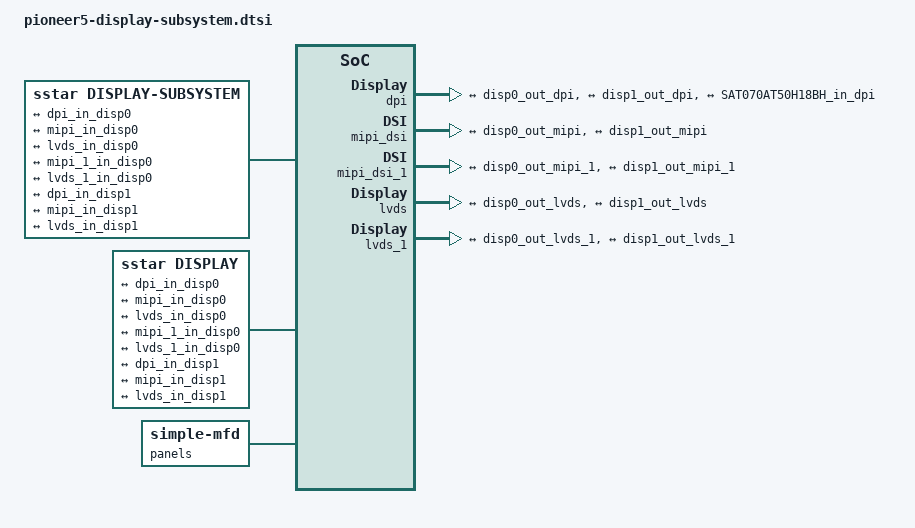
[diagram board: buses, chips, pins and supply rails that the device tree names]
/*
 * pioneer5-display-subsystem.dtsi- Sigmastar
 *
 * Copyright (c) [2019~2020] SigmaStar Technology.
 *
 *
 * This software is licensed under the terms of the GNU General Public
 * License version 2, as published by the Free Software Foundation, and
 * may be copied, distributed, and modified under those terms.
 *
 * This program is distributed in the hope that it will be useful,
 * but WITHOUT ANY WARRANTY; without even the implied warranty of
 * MERCHANTABILITY or FITNESS FOR A PARTICULAR PURPOSE.  See the
 * GNU General Public License version 2 for more details.
 *
 */

/ {
    display-subsystem {
        compatible = "sstar,display-subsystem","simple-mfd";
        ports = <&disp0>, <&disp1>, <&drmscl>;

        display {
            compatible = "sstar,display";
            #address-cells = <1>;
            #size-cells = <0>;

            disp0: port@0 {
                reg = <0>;
                preferred = <1>;
                gop-ui-support-ifcd = <1>; /* Support IFCD for GOP_UI on this disp */
                cursor-layer-enable = <1>;
                cursor-for-ui = <0>;
                /* mop-layers = <layerId winCount ... ...>
                                 layerId:  even for mopg, odd for mops
                                 winCount: win count on mop layer
                */
                mop-layers = <0 12
                              1 1>;
                mops-realtime = <1>;
                port {
                    disp0_out_dpi: endpoint@0 {
                        remote-endpoint = <&dpi_in_disp0>;
                    };
                    disp0_out_mipi: endpoint@1 {
                        remote-endpoint = <&mipi_in_disp0>;
                    };
                    disp0_out_lvds: endpoint@2 {
                        remote-endpoint = <&lvds_in_disp0>;
                    };
                    disp0_out_mipi_1: endpoint@3 {
                        remote-endpoint = <&mipi_1_in_disp0>;
                    };
                    disp0_out_lvds_1: endpoint@4 {
                        remote-endpoint = <&lvds_1_in_disp0>;
                    };
                };
            };
            disp1: port@1 {
                reg = <1>;
                cursor-layer-enable = <1>;
                cursor-for-ui = <0>;
                /* mop-layers = <layerId winCount ... ...>
                                 layerId:  even for mopg, odd for mops
                                 winCount: win count on mop layer
                */
                mop-layers = <2 12
                              3 1>;
                port {
                    disp1_out_dpi: endpoint@0 {
                        remote-endpoint = <&dpi_in_disp1>;
                    };
                    disp1_out_mipi: endpoint@1 {
                        remote-endpoint = <&mipi_in_disp1>;
                    };
                    disp1_out_lvds: endpoint@2 {
                        remote-endpoint = <&lvds_in_disp1>;
                    };
                    disp1_out_mipi_1: endpoint@3 {
                        remote-endpoint = <&mipi_1_in_disp1>;
                    };
                    disp1_out_lvds_1: endpoint@4 {
                        remote-endpoint = <&lvds_1_in_disp1>;
                    };
                };
            };
            drmscl: port@2 {
                reg = <2>;
                rdma-support = <1>;
                rot-support = <1>;
                rdmaid = <1>;
                sclid = <0x2>;
            };
        };

        dpi {
            compatible = "sstar,dpi";
            status = "okay";
            preferred = <1>;

            ports {
                #address-cells = <1>;
                #size-cells = <0>;
                port@0 {
                    reg = <0>;
                    dpi_in_disp0: endpoint@0 {
                        remote-endpoint = <&disp0_out_dpi>;
                    };
                    dpi_in_disp1: endpoint@1 {
                        remote-endpoint = <&disp1_out_dpi>;
                    };
                };
                port@1 {
                    reg = <1>;
                    dpi_out_panel: endpoint {
                        remote-endpoint = <&SAT070AT50H18BH_in_dpi>;
                    };
                };
                port@2 {
                };
            };
        };

        mipi_dsi {
            compatible = "sstar,mipi-dsi";
            status = "okay";

            ports {
                #address-cells = <1>;
                #size-cells = <0>;
                port@0 {
                    reg = <0>;
                    mipi_in_disp0: endpoint@0 {
                        remote-endpoint = <&disp0_out_mipi>;
                    };
                    mipi_in_disp1: endpoint@1 {
                        remote-endpoint = <&disp1_out_mipi>;
                    };
                };
                port@1 {
                    reg = <1>;
                    mipi_out_panel: endpoint {
                        remote-endpoint = <0>;
                    };
                };
                port@2 {
                };
            };
        };

        mipi_dsi_1 {
            compatible = "sstar,mipi-dsi";
            status = "okay";

            ports {
                #address-cells = <1>;
                #size-cells = <0>;
                port@0 {
                    reg = <0>;
                    mipi_1_in_disp0: endpoint@0 {
                        remote-endpoint = <&disp0_out_mipi_1>;
                    };
                    mipi_1_in_disp1: endpoint@1 {
                        remote-endpoint = <&disp1_out_mipi_1>;
                    };
                };
                port@1 {
                    reg = <1>;
                    mipi_1_out_panel: endpoint {
                        remote-endpoint = <0>;
                    };
                };
            };
        };

        lvds {
            compatible = "sstar,lvds";
            status = "okay";

            ports {
                #address-cells = <1>;
                #size-cells = <0>;
                port@0 {
                    reg = <0>;
                    lvds_in_disp0: endpoint@0 {
                        remote-endpoint = <&disp0_out_lvds>;
                    };
                    lvds_in_disp1: endpoint@1 {
                        remote-endpoint = <&disp1_out_lvds>;
                    };
                };
                port@1 {
                    reg = <1>;
                    lvds_out_panel: endpoint {
                        remote-endpoint = <0>;
                    };
                };
                port@2 {
                };
            };
        };

        lvds_1 {
            compatible = "sstar,lvds";
            status = "okay";

            ports {
                #address-cells = <1>;
                #size-cells = <0>;
                port@0 {
                    reg = <0>;
                    lvds_1_in_disp0: endpoint@0 {
                        remote-endpoint = <&disp0_out_lvds_1>;
                    };
                    lvds_1_in_disp1: endpoint@1 {
                        remote-endpoint = <&disp1_out_lvds_1>;
                    };
                };
                port@1 {
                    reg = <1>;
                    lvds_1_out_panel: endpoint {
                        remote-endpoint = <0>;
                    };
                };
            };
        };

        panels: panels {
            compatible = "simple-mfd";
            backlight_ttl: backlight_ttl {
            };
            backlight_mipi: backlight_mipi {
            };
            backlight_lvds: backlight_lvds {
            };
            panel_misc: panel_misc {
            };
        };
    };
};

#include "panel-SAT070AT50H18BH.dtsi"

